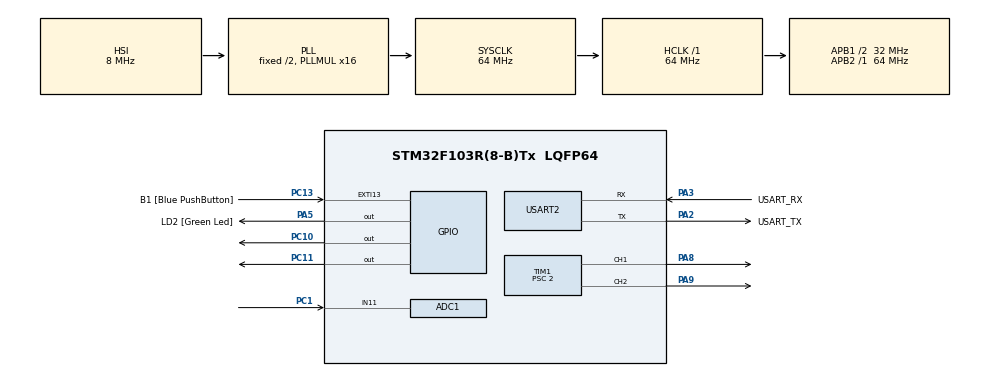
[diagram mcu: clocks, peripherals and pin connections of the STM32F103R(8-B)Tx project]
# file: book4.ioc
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ADC1.Channel-0\#ChannelRegularConversion=ADC_CHANNEL_11
ADC1.ContinuousConvMode=ENABLE
ADC1.NbrOfConversionFlag=1
ADC1.Rank-0\#ChannelRegularConversion=1
ADC1.SamplingTime-0\#ChannelRegularConversion=ADC_SAMPLETIME_7CYCLES_5
ADC1.master=1
Dma.ADC1.0.Direction=DMA_PERIPH_TO_MEMORY
Dma.ADC1.0.Instance=DMA1_Channel1
Dma.ADC1.0.MemDataAlignment=DMA_MDATAALIGN_HALFWORD
Dma.ADC1.0.MemInc=DMA_MINC_ENABLE
Dma.ADC1.0.Mode=DMA_NORMAL
Dma.ADC1.0.PeriphDataAlignment=DMA_PDATAALIGN_HALFWORD
Dma.ADC1.0.PeriphInc=DMA_PINC_DISABLE
Dma.ADC1.0.Priority=DMA_PRIORITY_LOW
Dma.Request0=ADC1
Mcu.Family=STM32F1
Mcu.Name=STM32F103R(8-B)Tx
Mcu.Package=LQFP64
NVIC.DMA1_Channel1_IRQn=true\:0\:0\:false\:false\:true\:false\:true\:true
NVIC.EXTI15_10_IRQn=true\:0\:0\:false\:false\:true\:true\:true\:true
NVIC.PriorityGroup=NVIC_PRIORITYGROUP_4
NVIC.TIM1_UP_IRQn=true\:0\:0\:false\:false\:true\:true\:true\:true
PA13.GPIO_Label=TMS
PA13.Mode=Serial_Wire
PA13.Signal=SYS_JTMS-SWDIO
PA14.GPIO_Label=TCK
PA14.Mode=Serial_Wire
PA14.Signal=SYS_JTCK-SWCLK
PA2.GPIO_Label=USART_TX
PA2.GPIO_Mode=GPIO_MODE_AF_PP
PA2.GPIO_PuPd=GPIO_NOPULL
PA2.GPIO_Speed=GPIO_SPEED_FREQ_LOW
PA2.Mode=Asynchronous
PA2.Signal=USART2_TX
PA3.GPIO_Label=USART_RX
PA3.GPIO_Mode=GPIO_MODE_AF_PP
PA3.GPIO_PuPd=GPIO_NOPULL
PA3.GPIO_Speed=GPIO_SPEED_FREQ_LOW
PA3.Mode=Asynchronous
PA3.Signal=USART2_RX
PA5.GPIO_Label=LD2 [Green Led]
PA5.GPIO_ModeDefaultOutputPP=GPIO_MODE_OUTPUT_PP
PA5.GPIO_PuPd=GPIO_NOPULL
PA5.GPIO_Speed=GPIO_SPEED_FREQ_LOW
PA5.Signal=GPIO_Output
PA8.Signal=S_TIM1_CH1
PA9.Signal=S_TIM1_CH2
PB3.GPIO_Label=SWO
PB3.Signal=SYS_JTDO-TRACESWO
PC1.Signal=ADCx_IN11
PC10.Signal=GPIO_Output
PC11.Signal=GPIO_Output
PC13-TAMPER-RTC.GPIO_Label=B1 [Blue PushButton]
PC13-TAMPER-RTC.GPIO_PuPd=GPIO_NOPULL
PC13-TAMPER-RTC.Signal=GPXTI13
PC14-OSC32_IN.Mode=LSE-External-Oscillator
PC14-OSC32_IN.Signal=RCC_OSC32_IN
PC15-OSC32_OUT.Mode=LSE-External-Oscillator
PC15-OSC32_OUT.Signal=RCC_OSC32_OUT
PD0-OSC_IN.Mode=HSE-External-Clock-Source
PD0-OSC_IN.Signal=RCC_OSC_IN
PD1-OSC_OUT.Mode=HSE-External-Clock-Source
PD1-OSC_OUT.Signal=RCC_OSC_OUT
ProjectManager.HeapSize=0x200
ProjectManager.StackSize=0x400
ProjectManager.TargetToolchain=STM32CubeIDE
RCC.AHBFreq_Value=64000000
RCC.APB1CLKDivider=RCC_HCLK_DIV2
RCC.APB1Freq_Value=32000000
RCC.APB1TimFreq_Value=64000000
RCC.APB2Freq_Value=64000000
RCC.APB2TimFreq_Value=64000000
RCC.HCLKFreq_Value=64000000
RCC.PLLMUL=RCC_PLL_MUL16
RCC.RTCClockSelection=RCC_RTCCLKSOURCE_LSE
RCC.SYSCLKFreq_VALUE=64000000
RCC.SYSCLKSource=RCC_SYSCLKSOURCE_PLLCLK
RCC.USBFreq_Value=64000000
SH.ADCx_IN11.0=ADC1_IN11,IN11
SH.S_TIM1_CH1.0=TIM1_CH1,PWM Generation1 CH1
SH.S_TIM1_CH2.0=TIM1_CH2,PWM Generation2 CH2
TIM1.Channel-PWM\ Generation1\ CH1=TIM_CHANNEL_1
TIM1.Channel-PWM\ Generation2\ CH2=TIM_CHANNEL_2
TIM1.Period=999
TIM1.Prescaler=2
TIM1.RepetitionCounter=1
USART2.VirtualMode=VM_ASYNC
VP_TIM1_VS_ClockSourceINT.Mode=Internal
board=NUCLEO-F103RB

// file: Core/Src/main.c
/* USER CODE BEGIN Header */
/**
  ******************************************************************************
  * @file           : main.c
  * @brief          : Main program body
  ******************************************************************************
  * @attention
  *
  * Copyright (c) 2023 STMicroelectronics.
  * All rights reserved.
  *
  * This software is licensed under terms that can be found in the LICENSE file
  * in the root directory of this software component.
  * If no LICENSE file comes with this software, it is provided AS-IS.
  *
  ******************************************************************************
  */
/* USER CODE END Header */
#include "main.h"

/* USER CODE BEGIN Includes */
#include "pid.h"
#include "visualscope.h"
/* USER CODE END Includes */

ADC_HandleTypeDef hadc1;
DMA_HandleTypeDef hdma_adc1;

TIM_HandleTypeDef htim1;

UART_HandleTypeDef huart2;

void SystemClock_Config(void);
static void MX_GPIO_Init(void);
static void MX_DMA_Init(void);
static void MX_USART2_UART_Init(void);
static void MX_ADC1_Init(void);
static void MX_TIM1_Init(void);

int main(void)
{
  /* USER CODE BEGIN 1 */
	uint8_t tx[10];
  /* USER CODE END 1 */

  /* MCU Configuration--------------------------------------------------------*/

  /* Reset of all peripherals, Initializes the Flash interface and the Systick. */
  HAL_Init();

  /* Configure the system clock */
  SystemClock_Config();

  /* Initialize all configured peripherals */
  MX_GPIO_Init();
  MX_DMA_Init();
  MX_USART2_UART_Init();
  MX_ADC1_Init();
  MX_TIM1_Init();
  /* USER CODE BEGIN 2 */

  // 开始ADC转换
  HAL_ADC_Start_DMA(&hadc1, (uint32_t *)adcTemp, 32 );

  // 开启定时器1 PWM通道1和2
  HAL_TIM_PWM_Start( &htim1,TIM_CHANNEL_1 );
  HAL_TIM_PWM_Start( &htim1,TIM_CHANNEL_2 );
  HAL_GPIO_WritePin(GPIOC,GPIO_PIN_10,GPIO_PIN_SET);
  HAL_GPIO_WritePin(GPIOC,GPIO_PIN_11,GPIO_PIN_SET);

  __HAL_TIM_SET_COMPARE( &htim1,TIM_CHANNEL_2,0 );

  PidCurrent.Kp = 0.8;
  PidCurrent.Ki = 4;
  PidCurrent.Kd = 0.001;

  PidCurrent.Ref = 50/4095.0f;

  // 电流环在 TIM1_UP_IRQHandler 中断中执行

  /* USER CODE END 2 */

  /* Infinite loop */
  while (1)
  {

    /* USER CODE BEGIN 3 */
    *(uint16_t *)tx = PidCurrent.Ref*4095;
    *(uint16_t *)(tx+2) = PidCurrent.Fbk*4095;
    *(uint16_t *)(tx+4) = PidCurrent.Out*1000;
    CRC16( tx, tx+8, 8 );
    HAL_UART_Transmit(&huart2,tx,10,10);
    HAL_Delay(2);
  }
  /* USER CODE END 3 */
}

void SystemClock_Config(void)
{
  RCC_OscInitTypeDef RCC_OscInitStruct = {0};
  RCC_ClkInitTypeDef RCC_ClkInitStruct = {0};
  RCC_PeriphCLKInitTypeDef PeriphClkInit = {0};

  /** Initializes the RCC Oscillators according to the specified parameters
  * in the RCC_OscInitTypeDef structure.
  */
  RCC_OscInitStruct.OscillatorType = RCC_OSCILLATORTYPE_HSI;
  RCC_OscInitStruct.HSIState = RCC_HSI_ON;
  RCC_OscInitStruct.HSICalibrationValue = RCC_HSICALIBRATION_DEFAULT;
  RCC_OscInitStruct.PLL.PLLState = RCC_PLL_ON;
  RCC_OscInitStruct.PLL.PLLSource = RCC_PLLSOURCE_HSI_DIV2;
  RCC_OscInitStruct.PLL.PLLMUL = RCC_PLL_MUL16;
  if (HAL_RCC_OscConfig(&RCC_OscInitStruct) != HAL_OK)
  {
    Error_Handler();
  }

  /** Initializes the CPU, AHB and APB buses clocks
  */
  RCC_ClkInitStruct.ClockType = RCC_CLOCKTYPE_HCLK|RCC_CLOCKTYPE_SYSCLK
                              |RCC_CLOCKTYPE_PCLK1|RCC_CLOCKTYPE_PCLK2;
  RCC_ClkInitStruct.SYSCLKSource = RCC_SYSCLKSOURCE_PLLCLK;
  RCC_ClkInitStruct.AHBCLKDivider = RCC_SYSCLK_DIV1;
  RCC_ClkInitStruct.APB1CLKDivider = RCC_HCLK_DIV2;
  RCC_ClkInitStruct.APB2CLKDivider = RCC_HCLK_DIV1;

  if (HAL_RCC_ClockConfig(&RCC_ClkInitStruct, FLASH_LATENCY_2) != HAL_OK)
  {
    Error_Handler();
  }
  PeriphClkInit.PeriphClockSelection = RCC_PERIPHCLK_ADC;
  PeriphClkInit.AdcClockSelection = RCC_ADCPCLK2_DIV2;
  if (HAL_RCCEx_PeriphCLKConfig(&PeriphClkInit) != HAL_OK)
  {
    Error_Handler();
  }
}

static void MX_ADC1_Init(void)
{

  ADC_ChannelConfTypeDef sConfig = {0};

  /** Common config
  */
  hadc1.Instance = ADC1;
  hadc1.Init.ScanConvMode = ADC_SCAN_DISABLE;
  hadc1.Init.ContinuousConvMode = ENABLE;
  hadc1.Init.DiscontinuousConvMode = DISABLE;
  hadc1.Init.ExternalTrigConv = ADC_SOFTWARE_START;
  hadc1.Init.DataAlign = ADC_DATAALIGN_RIGHT;
  hadc1.Init.NbrOfConversion = 1;
  if (HAL_ADC_Init(&hadc1) != HAL_OK)
  {
    Error_Handler();
  }

  /** Configure Regular Channel
  */
  sConfig.Rank = ADC_REGULAR_RANK_1;
  sConfig.Channel = ADC_CHANNEL_11;
  sConfig.SamplingTime = ADC_SAMPLETIME_7CYCLES_5;
  if (HAL_ADC_ConfigChannel(&hadc1, &sConfig) != HAL_OK)
  {
    Error_Handler();
  }

}

static void MX_TIM1_Init(void)
{

  TIM_ClockConfigTypeDef sClockSourceConfig = {0};
  TIM_MasterConfigTypeDef sMasterConfig = {0};
  TIM_OC_InitTypeDef sConfigOC = {0};
  TIM_BreakDeadTimeConfigTypeDef sBreakDeadTimeConfig = {0};

  htim1.Instance = TIM1;
  htim1.Init.Prescaler = 2;
  htim1.Init.CounterMode = TIM_COUNTERMODE_UP;
  htim1.Init.Period = 999;
  htim1.Init.ClockDivision = TIM_CLOCKDIVISION_DIV1;
  htim1.Init.RepetitionCounter = 1;
  htim1.Init.AutoReloadPreload = TIM_AUTORELOAD_PRELOAD_DISABLE;
  if (HAL_TIM_Base_Init(&htim1) != HAL_OK)
  {
    Error_Handler();
  }
  sClockSourceConfig.ClockSource = TIM_CLOCKSOURCE_INTERNAL;
  if (HAL_TIM_ConfigClockSource(&htim1, &sClockSourceConfig) != HAL_OK)
  {
    Error_Handler();
  }
  if (HAL_TIM_PWM_Init(&htim1) != HAL_OK)
  {
    Error_Handler();
  }
  sMasterConfig.MasterOutputTrigger = TIM_TRGO_RESET;
  sMasterConfig.MasterSlaveMode = TIM_MASTERSLAVEMODE_DISABLE;
  if (HAL_TIMEx_MasterConfigSynchronization(&htim1, &sMasterConfig) != HAL_OK)
  {
    Error_Handler();
  }
  sConfigOC.OCMode = TIM_OCMODE_PWM1;
  sConfigOC.Pulse = 0;
  sConfigOC.OCPolarity = TIM_OCPOLARITY_HIGH;
  sConfigOC.OCNPolarity = TIM_OCNPOLARITY_HIGH;
  sConfigOC.OCFastMode = TIM_OCFAST_DISABLE;
  sConfigOC.OCIdleState = TIM_OCIDLESTATE_RESET;
  sConfigOC.OCNIdleState = TIM_OCNIDLESTATE_RESET;
  if (HAL_TIM_PWM_ConfigChannel(&htim1, &sConfigOC, TIM_CHANNEL_1) != HAL_OK)
  {
    Error_Handler();
  }
  if (HAL_TIM_PWM_ConfigChannel(&htim1, &sConfigOC, TIM_CHANNEL_2) != HAL_OK)
  {
    Error_Handler();
  }
  sBreakDeadTimeConfig.OffStateRunMode = TIM_OSSR_DISABLE;
  sBreakDeadTimeConfig.OffStateIDLEMode = TIM_OSSI_DISABLE;
  sBreakDeadTimeConfig.LockLevel = TIM_LOCKLEVEL_OFF;
  sBreakDeadTimeConfig.DeadTime = 0;
  sBreakDeadTimeConfig.BreakState = TIM_BREAK_DISABLE;
  sBreakDeadTimeConfig.BreakPolarity = TIM_BREAKPOLARITY_HIGH;
  sBreakDeadTimeConfig.AutomaticOutput = TIM_AUTOMATICOUTPUT_DISABLE;
  if (HAL_TIMEx_ConfigBreakDeadTime(&htim1, &sBreakDeadTimeConfig) != HAL_OK)
  {
    Error_Handler();
  }
  HAL_TIM_MspPostInit(&htim1);

}

static void MX_USART2_UART_Init(void)
{

  huart2.Instance = USART2;
  huart2.Init.BaudRate = 115200;
  huart2.Init.WordLength = UART_WORDLENGTH_8B;
  huart2.Init.StopBits = UART_STOPBITS_1;
  huart2.Init.Parity = UART_PARITY_NONE;
  huart2.Init.Mode = UART_MODE_TX_RX;
  huart2.Init.HwFlowCtl = UART_HWCONTROL_NONE;
  huart2.Init.OverSampling = UART_OVERSAMPLING_16;
  if (HAL_UART_Init(&huart2) != HAL_OK)
  {
    Error_Handler();
  }

}

static void MX_DMA_Init(void)
{

  /* DMA controller clock enable */
  __HAL_RCC_DMA1_CLK_ENABLE();

  /* DMA interrupt init */
  /* DMA1_Channel1_IRQn interrupt configuration */
  HAL_NVIC_SetPriority(DMA1_Channel1_IRQn, 0, 0);
  HAL_NVIC_EnableIRQ(DMA1_Channel1_IRQn);

}

static void MX_GPIO_Init(void)
{
  GPIO_InitTypeDef GPIO_InitStruct = {0};

  /* GPIO Ports Clock Enable */
  __HAL_RCC_GPIOC_CLK_ENABLE();
  __HAL_RCC_GPIOD_CLK_ENABLE();
  __HAL_RCC_GPIOA_CLK_ENABLE();
  __HAL_RCC_GPIOB_CLK_ENABLE();

  /*Configure GPIO pin Output Level */
  HAL_GPIO_WritePin(LD2_GPIO_Port, LD2_Pin, GPIO_PIN_RESET);

  /*Configure GPIO pin Output Level */
  HAL_GPIO_WritePin(GPIOC, GPIO_PIN_10|GPIO_PIN_11, GPIO_PIN_RESET);

  /*Configure GPIO pin : B1_Pin */
  GPIO_InitStruct.Pin = B1_Pin;
  GPIO_InitStruct.Mode = GPIO_MODE_IT_RISING;
  GPIO_InitStruct.Pull = GPIO_NOPULL;
  HAL_GPIO_Init(B1_GPIO_Port, &GPIO_InitStruct);

  /*Configure GPIO pin : LD2_Pin */
  GPIO_InitStruct.Pin = LD2_Pin;
  GPIO_InitStruct.Mode = GPIO_MODE_OUTPUT_PP;
  GPIO_InitStruct.Pull = GPIO_NOPULL;
  GPIO_InitStruct.Speed = GPIO_SPEED_FREQ_LOW;
  HAL_GPIO_Init(LD2_GPIO_Port, &GPIO_InitStruct);

  /*Configure GPIO pins : PC10 PC11 */
  GPIO_InitStruct.Pin = GPIO_PIN_10|GPIO_PIN_11;
  GPIO_InitStruct.Mode = GPIO_MODE_OUTPUT_PP;
  GPIO_InitStruct.Pull = GPIO_NOPULL;
  GPIO_InitStruct.Speed = GPIO_SPEED_FREQ_LOW;
  HAL_GPIO_Init(GPIOC, &GPIO_InitStruct);

  /* EXTI interrupt init*/
  HAL_NVIC_SetPriority(EXTI15_10_IRQn, 0, 0);
  HAL_NVIC_EnableIRQ(EXTI15_10_IRQn);

}

void Error_Handler(void)
{
  __disable_irq();
  while (1)
  {
  }
}
